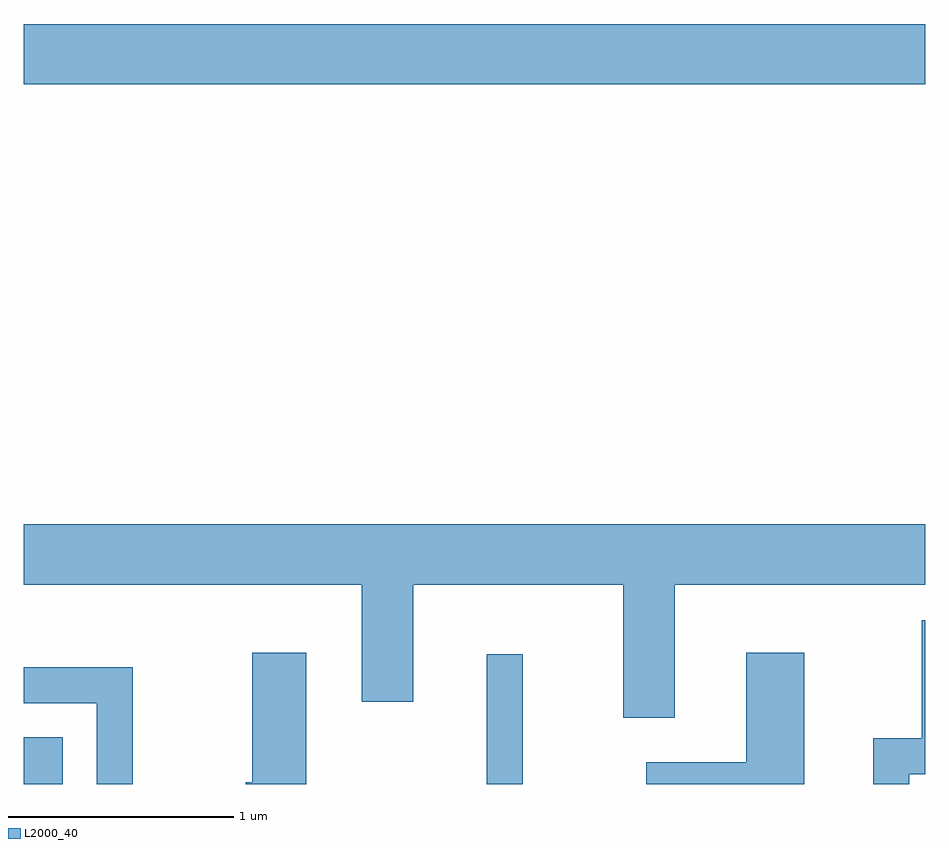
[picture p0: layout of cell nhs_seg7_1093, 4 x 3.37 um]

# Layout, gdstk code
import gdstk
lib = gdstk.Library(unit=1e-6, precision=1e-09)
def R(c, l, rs):  # rectangles x0, y0, x1, y1
    for r in rs: c.add(gdstk.rectangle(r[:2], r[2:], *l))
def P(c, l, *ps):  # polygons
    for p in ps: c.add(gdstk.Polygon(p, *l))
L2000_40 = (2000, 40)

nhs_seg7_1093 = lib.new_cell('nhs_seg7_1093')
R(nhs_seg7_1093, L2000_40, [(217.611,1782.252,217.784,1782.459), (219.666,1782.252,219.824,1782.828), (217.611,1785.356,221.611,1785.624)])
P(nhs_seg7_1093, L2000_40, [(220.499,1783.136),(221.611,1783.136),(221.611,1783.404),(217.611,1783.404),(217.611,1783.136),(219.111,1783.136),(219.111,1782.616),(219.339,1782.616),(219.339,1783.136),(220.271,1783.136),(220.271,1782.546),(220.499,1782.546)],
  [(221.539,1782.296),(221.611,1782.296),(221.611,1782.979),(221.596,1782.979),(221.596,1782.454),(221.381,1782.454),(221.381,1782.252),(221.539,1782.252)],
  [(218.864,1782.834),(218.626,1782.834),(218.626,1782.259),(218.596,1782.259),(218.596,1782.252),(218.864,1782.252)],
  [(221.074,1782.834),(220.816,1782.834),(220.816,1782.349),(220.373,1782.349),(220.373,1782.252),(221.074,1782.252)],
  [(218.094,1782.769),(217.611,1782.769),(217.611,1782.611),(217.936,1782.611),(217.936,1782.252),(218.094,1782.252)])

lib.write_gds('nhs_seg7_1093.gds')
